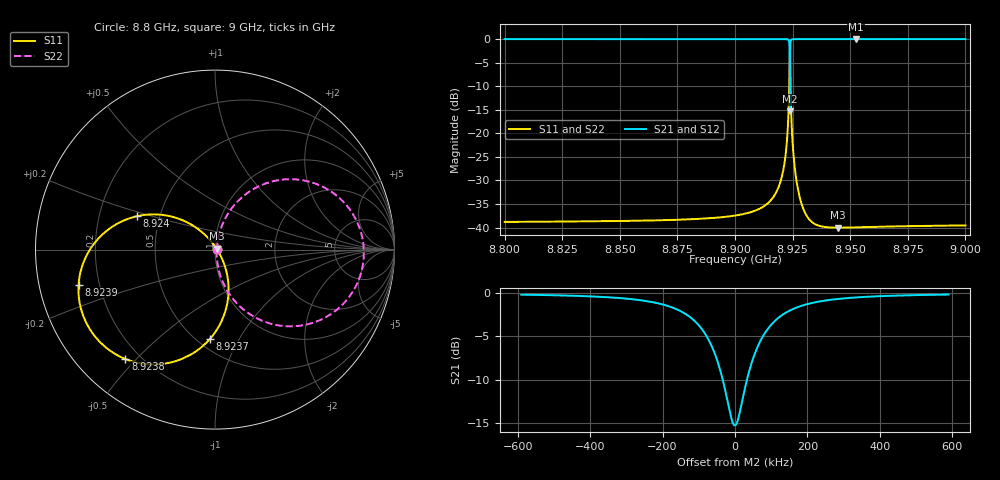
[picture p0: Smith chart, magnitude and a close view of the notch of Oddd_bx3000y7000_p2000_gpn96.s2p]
! Sonnet Data File
! From: emgraph Version : 16.52
! From Project: Resonator2_cp
! Data is De-embedded
! Data File Written: 10/06/2017 13:30:08
!< HDATE 10/06/2017 09:06:26
!< MDATE 10/06/2017 09:06:26
!< PARAMS
!< gap = 96.0
!< Length = 400.0
!< Pwid1 = 2000.0
!< Pwid2 = 2000.0
!< END PARAMS
# GHZ S MA R 35.97000
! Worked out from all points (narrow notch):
!   1595 points, 8.8 GHz to 9 GHz, reference 35.97 ohm
!   highest |S21| = 0.00 dB at 8.9525 GHz (marker M1); lowest = -15.3 dB at 8.9238 GHz (marker M2)
!   notch at M2: 15.3 dB deep, 99.4 kHz wide at half that depth
!   lowest |S11| = -40.0 dB at 8.9446 GHz (marker M3), VSWR 1.02, Z = 36.6 + j0.395 ohm
!   |S11| at or under -10 dB: start of sweep to 8.9235 GHz; 8.9241 GHz to end of sweep
!   |S22| runs from -40.0 to -1.6 dB; largest |S21 - S12| = 0
!   S11 on the Smith chart (normalised r, x): 8.8 GHz: 1.02, +0.00; 8.9237 GHz: 0.58, -0.76; 8.9238 GHz: 0.14, -0.47; 8.9239 GHz: 0.12, -0.12; 8.924 GHz: 0.37, +0.18; 9 GHz: 1.02, +0.00
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8.8  0.01147 4.8  0.9999 -74.1  0.9999 -74.1  0.01147 27.0
!< P1 F=8.8 Eeff=(5.36817953 -2.3731e-5) Z0=(35.9853883 8.0522e-5) R=0.0 C=0.0
!< P2 F=8.8 Eeff=(5.36817953 -2.3731e-5) Z0=(35.9853883 8.0522e-5) R=0.0 C=0.0
8.8334  0.0116 3.1  0.9999 -74.4  0.9999 -74.4  0.0116 28.0
8.8668  0.01192 0.1  0.9999 -74.7  0.9999 -74.7  0.01192 30.5
8.9  0.01338 -9.2  0.9999 -75.2  0.9999 -75.2  0.01339 38.9
8.912191  0.0166 -20.9  0.9998 -75.5  0.9998 -75.5  0.01662 49.8
8.919  0.0272 -37.3  0.9995 -76.3  0.9995 -76.3  0.02727 64.4
8.922393  0.07474 -54.6  0.9962 -79.1  0.9962 -79.1  0.07501 74.8
8.923293  0.1894 -67.4  0.9746 -85.8  0.9746 -85.8  0.1901 71.4
8.923656  0.4979 -93.2  0.8058 -104.5  0.8058 -104.5  0.4999 49.6
8.923778  0.7877 -129.3  0.3452 -118.9  0.3452 -118.9  0.791 15.0
8.923817  0.8264 -147.4  0.1719 -74.0  0.1719 -74.0  0.8298 -2.7
8.923856  0.7845 -165.6  0.3527 -30.7  0.3527 -30.7  0.7878 -20.5
8.923986  0.4742 156.9  0.824 -46.7  0.824 -46.7  0.4762 -56.4
8.924223  0.2296 136.7  0.9614 -61.6  0.9614 -61.6  0.2306 -73.9
8.9248  0.09574 123.6  0.9933 -69.4  0.9933 -69.4  0.09617 -79.9
8.92642  0.03471 108.5  0.9991 -73.0  0.9991 -73.0  0.03488 -73.5
8.9292  0.0169 87.7  0.9998 -74.1  0.9998 -74.1  0.01698 -55.5
8.9334  0.01143 62.5  0.9999 -74.6  0.9999 -74.6  0.01146 -31.6
8.944562  0.009963 32.9  0.9999 -75.0  0.9999 -75.0  0.009972 -2.9
8.95253  0.01004 25.1  0.9999 -75.2  0.9999 -75.2  0.01005 4.6
8.9668  0.01025 18.5  0.9999 -75.4  0.9999 -75.4  0.01025 10.8
9  0.01052 12.8  0.9999 -75.7  0.9999 -75.7  0.01052 15.8
